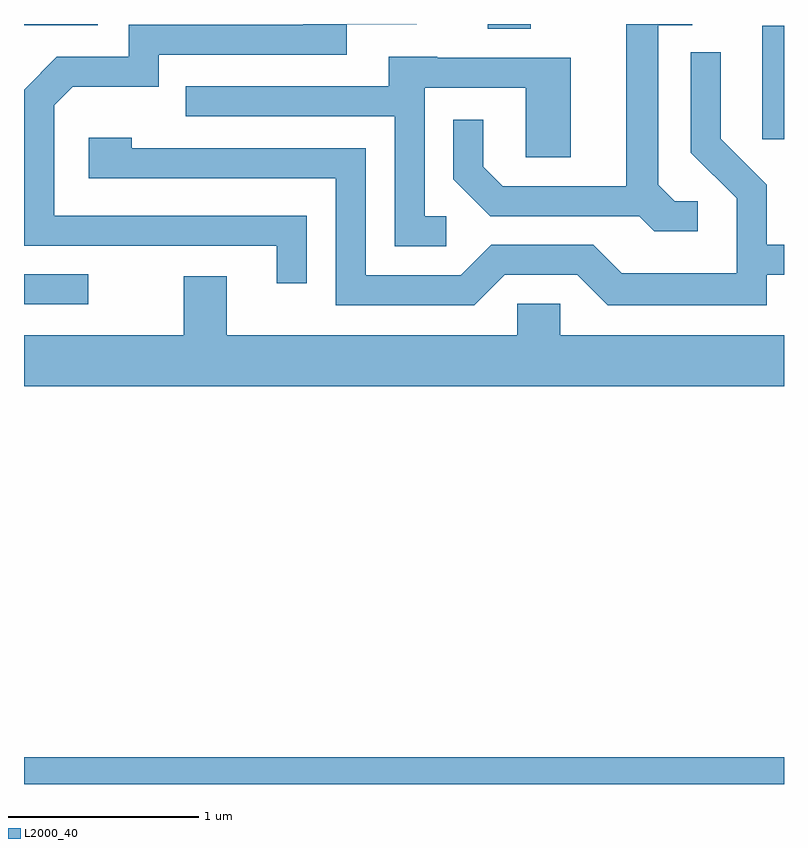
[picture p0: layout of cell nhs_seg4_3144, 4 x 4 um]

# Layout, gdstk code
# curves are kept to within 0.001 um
import gdstk
lib = gdstk.Library(unit=1e-6, precision=1e-09)
def R(c, l, rs):  # rectangles x0, y0, x1, y1
    for r in rs: c.add(gdstk.rectangle(r[:2], r[2:], *l))
def P(c, l, *ps):  # polygons
    for p in ps: c.add(gdstk.Polygon(p, *l))
L2000_40 = (2000, 40)

nhs_seg4_3144 = lib.new_cell('nhs_seg4_3144')
R(nhs_seg4_3144, L2000_40, [(277.611,1285.982,281.611,1286.124), (277.611,1288.506,277.948,1288.664), (281.496,1289.376,281.611,1289.974), (280.051,1289.956,280.279,1289.982), (277.611,1289.976,277.998,1289.982)])
P(nhs_seg4_3144, L2000_40, [(279.099,1288.974),(277.769,1288.974),(277.769,1289.554),(277.867,1289.651),(278.319,1289.651),(278.319,1289.821),(279.309,1289.821),(279.309,1289.981),(279.678,1289.982),(279.081,1289.982),(279.081,1289.979),(278.161,1289.979),(278.161,1289.809),(277.784,1289.809),(277.611,1289.637),(277.611,1288.816),(278.941,1288.816),(278.941,1288.618),(279.099,1288.618)],
  [(281.158,1289.049),(281.037,1289.049),(280.949,1289.137),(280.949,1289.976),(281.128,1289.976),(281.128,1289.982),(280.781,1289.982),(280.781,1289.129),(280.132,1289.129),(280.029,1289.232),(280.029,1289.478),(279.871,1289.478),(279.871,1289.164),(280.064,1288.971),(280.849,1288.971),(280.929,1288.891),(281.158,1288.891)],
  [(280.142,1288.661),(280.524,1288.661),(280.684,1288.501),(281.519,1288.501),(281.519,1288.661),(281.611,1288.661),(281.611,1288.819),(281.519,1288.819),(281.519,1289.137),(281.279,1289.377),(281.279,1289.833),(281.121,1289.833),(281.121,1289.304),(281.361,1289.064),(281.361,1288.669),(280.757,1288.669),(280.607,1288.819),(280.069,1288.819),(279.909,1288.659),(279.409,1288.659),(279.409,1289.329),(278.179,1289.329),(278.179,1289.384),(277.951,1289.384),(277.951,1289.171),(279.251,1289.171),(279.251,1288.501),(279.982,1288.501)],
  [(279.833,1288.969),(279.719,1288.969),(279.719,1289.646),(280.251,1289.646),(280.251,1289.281),(280.489,1289.281),(280.489,1289.804),(279.785,1289.804),(279.785,1289.809),(279.531,1289.809),(279.531,1289.654),(278.463,1289.654),(278.463,1289.496),(279.561,1289.496),(279.561,1288.811),(279.833,1288.811)],
  [(281.611,1288.344),(280.434,1288.344),(280.434,1288.509),(280.206,1288.509),(280.206,1288.344),(278.679,1288.344),(278.679,1288.654),(278.451,1288.654),(278.451,1288.344),(277.611,1288.344),(277.611,1288.076),(281.611,1288.076)])

lib.write_gds('nhs_seg4_3144.gds')
